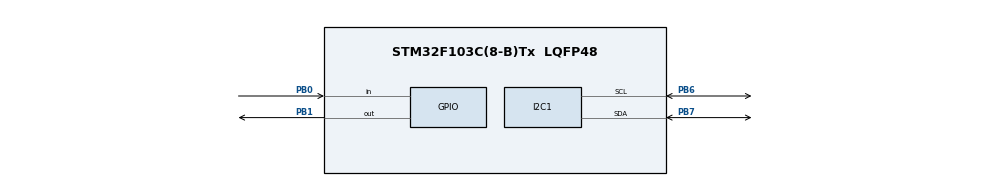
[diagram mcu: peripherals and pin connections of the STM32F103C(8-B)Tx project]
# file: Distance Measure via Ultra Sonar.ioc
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Mcu.Family=STM32F1
Mcu.Name=STM32F103C(8-B)Tx
Mcu.Package=LQFP48
NVIC.PriorityGroup=NVIC_PRIORITYGROUP_4
PB0.Signal=GPIO_Input
PB1.Signal=GPIO_Output
PB6.Mode=I2C
PB6.Signal=I2C1_SCL
PB7.Mode=I2C
PB7.Signal=I2C1_SDA
ProjectManager.HeapSize=0x200
ProjectManager.StackSize=0x400
ProjectManager.TargetToolchain=MDK-ARM V5.32
RCC.APB1Freq_Value=8000000
RCC.APB2Freq_Value=8000000
TIM1.Prescaler=7
VP_SYS_VS_ND.Mode=No_Debug
VP_TIM1_VS_ClockSourceINT.Mode=Internal
board=custom

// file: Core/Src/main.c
/* USER CODE BEGIN Header */
/**
  ******************************************************************************
  * @file           : main.c
  * @brief          : Main program body
  ******************************************************************************
  * @attention
  *
  * Copyright (c) 2026 STMicroelectronics.
  * All rights reserved.
  *
  * This software is licensed under terms that can be found in the LICENSE file
  * in the root directory of this software component.
  * If no LICENSE file comes with this software, it is provided AS-IS.
  *
  ******************************************************************************
  */
/* USER CODE END Header */
#include "main.h"

/* USER CODE BEGIN Includes */
#include "fonts.h"
#include "ssd1306.h"
#include "STDIO.h"
/* USER CODE END Includes */

I2C_HandleTypeDef hi2c1;

TIM_HandleTypeDef htim1;

void SystemClock_Config(void);
static void MX_GPIO_Init(void);
static void MX_I2C1_Init(void);
static void MX_TIM1_Init(void);

/* USER CODE BEGIN 0 */
float Ultrasonic_Read(void)
{
    /* ------------------- CONFIGURATION ------------------- */
    GPIO_TypeDef *TRIG_PORT = GPIOB;
    uint16_t      TRIG_PIN  = GPIO_PIN_1; // Output
    GPIO_TypeDef *ECHO_PORT = GPIOB;
    uint16_t      ECHO_PIN  = GPIO_PIN_0; // Input
    TIM_HandleTypeDef *TIMER = &htim1;
    /* ----------------------------------------------------- */

    // ----- 1. Ensure timer is running -----
    HAL_TIM_Base_Start(TIMER);

    // ----- 2. Send 10us pulse on TRIG -----
    HAL_GPIO_WritePin(TRIG_PORT, TRIG_PIN, GPIO_PIN_RESET);
    HAL_Delay(1);                  // 1 ms pause before pulse
    HAL_GPIO_WritePin(TRIG_PORT, TRIG_PIN, GPIO_PIN_SET);

    // Inline 10 ?s delay
    __HAL_TIM_SET_COUNTER(TIMER, 0);
    while (__HAL_TIM_GET_COUNTER(TIMER) < 10);

    HAL_GPIO_WritePin(TRIG_PORT, TRIG_PIN, GPIO_PIN_RESET);

    // ----- 3. Wait for ECHO to go HIGH -----
    uint32_t timeout_us = 30000;  // 30 ms timeout (~5 meters)
    __HAL_TIM_SET_COUNTER(TIMER, 0);
    while (HAL_GPIO_ReadPin(ECHO_PORT, ECHO_PIN) == GPIO_PIN_RESET)
    {
        if (__HAL_TIM_GET_COUNTER(TIMER) > timeout_us)
            return -1.0f;          // Timeout, no echo
    }

    // ----- 4. Measure pulse width -----
    __HAL_TIM_SET_COUNTER(TIMER, 0);
    while (HAL_GPIO_ReadPin(ECHO_PORT, ECHO_PIN) == GPIO_PIN_SET)
    {
        if (__HAL_TIM_GET_COUNTER(TIMER) > timeout_us)
            break;                 // Timeout, prevent infinite loop
    }
    uint32_t pulse_width_us = __HAL_TIM_GET_COUNTER(TIMER);

    // ----- 5. Calculate distance in cm -----
    float distance_cm = (float)pulse_width_us / 58.0f;

    return distance_cm;
}
/* USER CODE END 0 */

int main(void)
{

  /* MCU Configuration--------------------------------------------------------*/

  /* Reset of all peripherals, Initializes the Flash interface and the Systick. */
  HAL_Init();

  /* Configure the system clock */
  SystemClock_Config();

  /* Initialize all configured peripherals */
  MX_GPIO_Init();
  MX_I2C1_Init();
  MX_TIM1_Init();
  /* USER CODE BEGIN 2 */
	SSD1306_Init();
	float d;
	char buff[50];
  /* USER CODE END 2 */

  /* Infinite loop */
  while (1)
  {
		d = Ultrasonic_Read();
		if(d>=0){
			SSD1306_Fill(0);
			SSD1306_GotoXY(0,0);
			sprintf(buff,"Distance: %.2fcm",d);
			SSD1306_Puts(buff,&Font_7x10,1);
		}else{
			SSD1306_Fill(0);
			SSD1306_GotoXY(0,0);
			SSD1306_Puts("Errpr!!!",&Font_7x10,1);
		}
		SSD1306_UpdateScreen();
  }
}

void SystemClock_Config(void)
{
  RCC_OscInitTypeDef RCC_OscInitStruct = {0};
  RCC_ClkInitTypeDef RCC_ClkInitStruct = {0};

  /** Initializes the RCC Oscillators according to the specified parameters
  * in the RCC_OscInitTypeDef structure.
  */
  RCC_OscInitStruct.OscillatorType = RCC_OSCILLATORTYPE_HSI;
  RCC_OscInitStruct.HSIState = RCC_HSI_ON;
  RCC_OscInitStruct.HSICalibrationValue = RCC_HSICALIBRATION_DEFAULT;
  RCC_OscInitStruct.PLL.PLLState = RCC_PLL_NONE;
  if (HAL_RCC_OscConfig(&RCC_OscInitStruct) != HAL_OK)
  {
    Error_Handler();
  }

  /** Initializes the CPU, AHB and APB buses clocks
  */
  RCC_ClkInitStruct.ClockType = RCC_CLOCKTYPE_HCLK|RCC_CLOCKTYPE_SYSCLK
                              |RCC_CLOCKTYPE_PCLK1|RCC_CLOCKTYPE_PCLK2;
  RCC_ClkInitStruct.SYSCLKSource = RCC_SYSCLKSOURCE_HSI;
  RCC_ClkInitStruct.AHBCLKDivider = RCC_SYSCLK_DIV1;
  RCC_ClkInitStruct.APB1CLKDivider = RCC_HCLK_DIV1;
  RCC_ClkInitStruct.APB2CLKDivider = RCC_HCLK_DIV1;

  if (HAL_RCC_ClockConfig(&RCC_ClkInitStruct, FLASH_LATENCY_0) != HAL_OK)
  {
    Error_Handler();
  }
}

static void MX_I2C1_Init(void)
{

  hi2c1.Instance = I2C1;
  hi2c1.Init.ClockSpeed = 400000;
  hi2c1.Init.DutyCycle = I2C_DUTYCYCLE_2;
  hi2c1.Init.OwnAddress1 = 0;
  hi2c1.Init.AddressingMode = I2C_ADDRESSINGMODE_7BIT;
  hi2c1.Init.DualAddressMode = I2C_DUALADDRESS_DISABLE;
  hi2c1.Init.OwnAddress2 = 0;
  hi2c1.Init.GeneralCallMode = I2C_GENERALCALL_DISABLE;
  hi2c1.Init.NoStretchMode = I2C_NOSTRETCH_DISABLE;
  if (HAL_I2C_Init(&hi2c1) != HAL_OK)
  {
    Error_Handler();
  }

}

static void MX_TIM1_Init(void)
{

  TIM_ClockConfigTypeDef sClockSourceConfig = {0};
  TIM_MasterConfigTypeDef sMasterConfig = {0};

  htim1.Instance = TIM1;
  htim1.Init.Prescaler = 7;
  htim1.Init.CounterMode = TIM_COUNTERMODE_UP;
  htim1.Init.Period = 65535;
  htim1.Init.ClockDivision = TIM_CLOCKDIVISION_DIV1;
  htim1.Init.RepetitionCounter = 0;
  htim1.Init.AutoReloadPreload = TIM_AUTORELOAD_PRELOAD_DISABLE;
  if (HAL_TIM_Base_Init(&htim1) != HAL_OK)
  {
    Error_Handler();
  }
  sClockSourceConfig.ClockSource = TIM_CLOCKSOURCE_INTERNAL;
  if (HAL_TIM_ConfigClockSource(&htim1, &sClockSourceConfig) != HAL_OK)
  {
    Error_Handler();
  }
  sMasterConfig.MasterOutputTrigger = TIM_TRGO_RESET;
  sMasterConfig.MasterSlaveMode = TIM_MASTERSLAVEMODE_DISABLE;
  if (HAL_TIMEx_MasterConfigSynchronization(&htim1, &sMasterConfig) != HAL_OK)
  {
    Error_Handler();
  }

}

static void MX_GPIO_Init(void)
{
  GPIO_InitTypeDef GPIO_InitStruct = {0};

  /* GPIO Ports Clock Enable */
  __HAL_RCC_GPIOB_CLK_ENABLE();

  /*Configure GPIO pin Output Level */
  HAL_GPIO_WritePin(GPIOB, GPIO_PIN_1, GPIO_PIN_RESET);

  /*Configure GPIO pin : PB0 */
  GPIO_InitStruct.Pin = GPIO_PIN_0;
  GPIO_InitStruct.Mode = GPIO_MODE_INPUT;
  GPIO_InitStruct.Pull = GPIO_NOPULL;
  HAL_GPIO_Init(GPIOB, &GPIO_InitStruct);

  /*Configure GPIO pin : PB1 */
  GPIO_InitStruct.Pin = GPIO_PIN_1;
  GPIO_InitStruct.Mode = GPIO_MODE_OUTPUT_PP;
  GPIO_InitStruct.Pull = GPIO_NOPULL;
  GPIO_InitStruct.Speed = GPIO_SPEED_FREQ_LOW;
  HAL_GPIO_Init(GPIOB, &GPIO_InitStruct);

}

void Error_Handler(void)
{
  __disable_irq();
  while (1)
  {
  }
}
